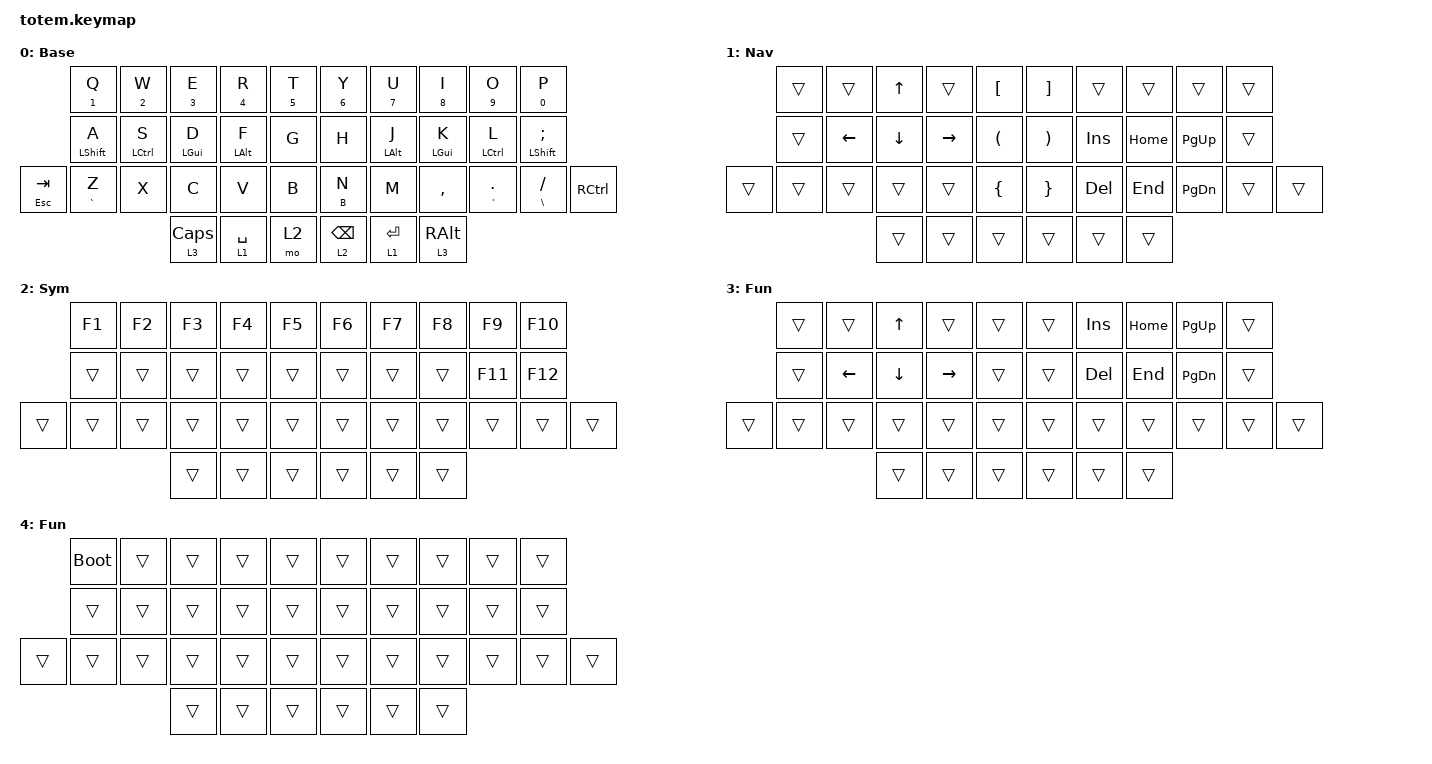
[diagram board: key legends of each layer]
//
//                                                        ▀▀▀▀▀     ▀▀▀▀▀          ▀▀█▀▀
//                                                        ▄▀▀▀▄  ▄  ▄▀▀▀▄  ▄  ▄▀▀▀▄  █  ▄▀▀▀▄
//                                                        █   █  █  █   █  █  █   █  █  █   █
//                                                         ▀▀▀   █   ▀▀▀   █   ▀▀▀   ▀   ▀▀▀
//                                                               █      ▄▄▄█▄▄▄    █   █  
//                                                               ▀      █  █  █     █▄█
//                                                             ▀▀▀▀▀    █  █  █      ▀
//                                                                      ▀  ▀  ▀
//
// ▄▄▄▄▄▄▄▄▄▄▄▄▄▄▄▄▄▄▄▄▄▄▄▄▄▄▄▄▄▄▄▄▄▄▄▄▄▄▄▄▄▄▄▄▄▄▄▄▄▄▄▄▄▄▄▄▄▄▄▄▄▄▄▄▄▄▄▄▄▄▄▄▄▄▄▄▄▄▄▄▄▄▄▄▄▄▄▄▄▄▄▄▄▄▄▄▄▄▄▄▄▄▄▄▄▄▄▄▄▄▄▄▄▄▄▄▄▄▄▄▄▄▄▄▄▄▄▄▄▄▄▄▄▄▄▄▄▄▄▄▄▄▄▄▄▄▄▄▄

#include <behaviors.dtsi>
#include <dt-bindings/zmk/keys.h>

#define Base        0
#define Nav         1
#define Sym         2
#define Fun         3
#define Game        4
#define Gameplus    5

&mt {
    quick-tap-ms = <100>;
    global-quick-tap;
    flavor = "tap-preferred";
    tapping-term-ms = <200>;
};

&lt {
    tapping-term-ms = <240>;
    flavor = "balanced";
    quick-tap-ms = <150>;
};

/ {
    behaviors {
        hm: homerow_mods {
            compatible = "zmk,behavior-hold-tap";
            label = "HOMEROW_MODS";
            #binding-cells = <2>;
            flavor = "tap-preferred";
            tapping-term-ms = <180>;
            quick-tap-ms = <125>;
            global-quick-tap;
            bindings = <&kp>, <&kp>;
        };
    };

    combos {
        compatible = "zmk,combos";

        bav {
            bindings = <&kp BACKSPACE>;
            key-positions = <16 17>;
            timeout-ms = <60>;
            require-prior-idle-ms = <20>;
        };

        b {
            bindings = <&kp B>;
            key-positions = <26 27>;
        };

        minus {
            bindings = <&kp MINUS>;
            key-positions = <8 7>;
        };

        equal {
            bindings = <&kp EQUAL>;
            key-positions = <8 9>;
        };
    };

    keymap {
        compatible = "zmk,keymap";

        Base {
            display-name = "Base";
            bindings = <
                &mt NUMBER_1 Q    &mt NUMBER_2 W      &mt NUMBER_3 E  &mt NUMBER_4 R  &mt NUMBER_5 T    &mt NUMBER_6 Y   &mt N7 U        &mt NUMBER_8 I  &mt NUMBER_9 O      &mt N0 P
                &hm LEFT_SHIFT A  &hm LEFT_CONTROL S  &hm LEFT_GUI D  &hm LEFT_ALT F  &kp G             &kp H            &hm LEFT_ALT J  &hm LEFT_GUI K  &hm LEFT_CONTROL L  &hm LEFT_SHIFT SEMICOLON
&mt ESCAPE TAB  &mt GRAVE Z       &kp X               &kp C           &kp V           &kp B             &mt B N          &kp M           &kp COMMA       &mt APOS DOT        &mt BSLH SLASH            &kp RCTRL
                                                      &lt 3 CAPSLOCK  &lt 1 SPACE     &mo 2             &lt 2 BACKSPACE  &lt 1 ENTER     &lt 3 RALT
            >;
        };

        Nav {
            display-name = "Nav";
            bindings = <
        &trans  &trans          &kp UP_ARROW    &trans           &kp LEFT_BRACKET        &kp RIGHT_BRACKET      &trans      &trans    &trans         &trans
        &trans  &kp LEFT_ARROW  &kp DOWN_ARROW  &kp RIGHT_ARROW  &kp LEFT_PARENTHESIS    &kp RIGHT_PARENTHESIS  &kp INSERT  &kp HOME  &kp PAGE_UP    &trans
&trans  &trans  &trans          &trans          &trans           &kp LEFT_BRACE          &kp RIGHT_BRACE        &kp DEL     &kp END   &kp PAGE_DOWN  &trans  &trans
                                &trans          &trans           &trans                  &trans                 &trans      &trans
            >;
        };

        Sym {
            display-name = "Sym";
            bindings = <
        &kp F1  &kp F2  &kp F3  &kp F4  &kp F5    &kp F6  &kp F7  &kp F8  &kp F9   &kp F10
        &trans  &trans  &trans  &trans  &trans    &trans  &trans  &trans  &kp F11  &kp F12
&trans  &trans  &trans  &trans  &trans  &trans    &trans  &trans  &trans  &trans   &trans   &trans
                        &trans  &trans  &trans    &trans  &trans  &trans
            >;
        };

        Fun {
            display-name = "Fun";
            bindings = <
        &trans  &trans    &kp UP_ARROW    &trans     &trans    &trans  &kp INSERT  &kp HOME  &kp PAGE_UP    &trans
        &trans  &kp LEFT  &kp DOWN_ARROW  &kp RIGHT  &trans    &trans  &kp DEL     &kp END   &kp PAGE_DOWN  &trans
&trans  &trans  &trans    &trans          &trans     &trans    &trans  &trans      &trans    &trans         &trans  &trans
                          &trans          &trans     &trans    &trans  &trans      &trans
            >;
        };

        layer_4 {
            display-name = "Fun";
            bindings = <
        &bootloader  &trans  &trans  &trans  &trans    &trans  &trans  &trans  &trans  &trans
        &trans       &trans  &trans  &trans  &trans    &trans  &trans  &trans  &trans  &trans
&trans  &trans       &trans  &trans  &trans  &trans    &trans  &trans  &trans  &trans  &trans  &trans
                             &trans  &trans  &trans    &trans  &trans  &trans
            >;
        };
    };
};
